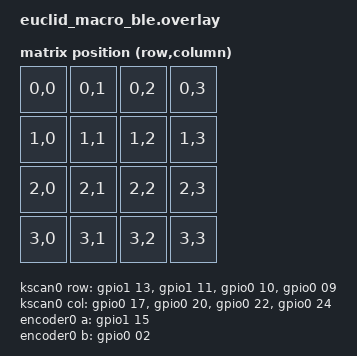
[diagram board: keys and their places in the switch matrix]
#include <dt-bindings/zmk/matrix_transform.h>
#include <dt-bindings/gpio/gpio.h>
#include <dt-bindings/led/led.h>
#include "euclid_macro_ble-layouts.dtsi"

#define NC 0xFFFFFFFF  /* Use to signal that a pin is not connected */

/ {
    chosen {
        zmk,kscan = &kscan0;
        zmk,underglow = &led_strip;
        zmk,physical-layout = &minimalpad_physical_layout;
    };

    default_transform: keymap_transform_0 {
        compatible = "zmk,matrix-transform";
        columns = <4>;
        rows = <4>;
        map = <
            RC(0,0) RC(0,1) RC(0,2) RC(0,3)
            RC(1,0) RC(1,1) RC(1,2) RC(1,3)
            RC(2,0) RC(2,1) RC(2,2) RC(2,3)
            RC(3,0) RC(3,1) RC(3,2) RC(3,3)
        >;
    };

    kscan0: kscan_0 {
        compatible = "zmk,kscan-gpio-matrix";
        diode-direction = "col2row";

        col-gpios
            = <&gpio0 17 GPIO_ACTIVE_HIGH>
            , <&gpio0 20 GPIO_ACTIVE_HIGH>
            , <&gpio0 22 GPIO_ACTIVE_HIGH>
            , <&gpio0 24 GPIO_ACTIVE_HIGH>
            ;

        row-gpios
            = <&gpio1 13 (GPIO_ACTIVE_HIGH | GPIO_PULL_DOWN)>
            , <&gpio1 11 (GPIO_ACTIVE_HIGH | GPIO_PULL_DOWN)>
            , <&gpio0 10 (GPIO_ACTIVE_HIGH | GPIO_PULL_DOWN)> 
            , <&gpio0 09 (GPIO_ACTIVE_HIGH | GPIO_PULL_DOWN)>
            ;
    };

    sensors {
        compatible = "zmk,keymap-sensors";
        sensors = <&encoder0>;
    };

    encoder0: encoder_0 {
        compatible = "alps,ec11";
        a-gpios = <&gpio1 15 (GPIO_ACTIVE_HIGH | GPIO_PULL_UP)>;
        b-gpios = <&gpio0 02 (GPIO_ACTIVE_HIGH | GPIO_PULL_UP)>;
        steps = <24>;  // Reduced steps for more responsive encoder
        status = "okay";
    };
};
